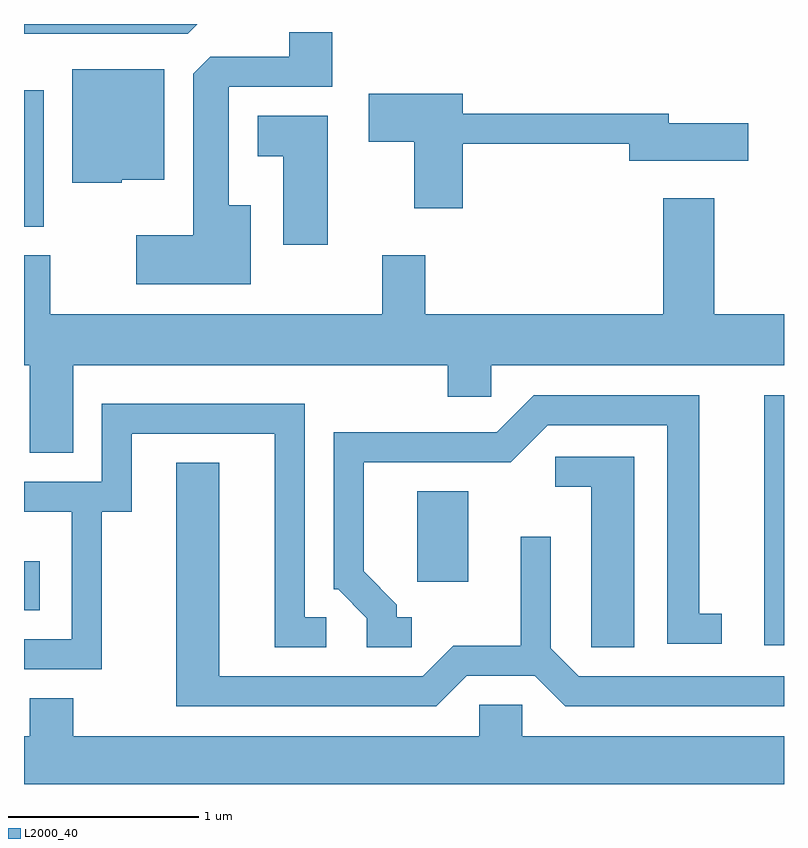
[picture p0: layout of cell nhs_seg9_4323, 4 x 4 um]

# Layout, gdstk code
import gdstk
lib = gdstk.Library(unit=1e-6, precision=1e-09)
def R(c, l, rs):  # rectangles x0, y0, x1, y1
    for r in rs: c.add(gdstk.rectangle(r[:2], r[2:], *l))
def P(c, l, *ps):  # polygons
    for p in ps: c.add(gdstk.Polygon(p, *l))
L2000_40 = (2000, 40)

nhs_seg9_4323 = lib.new_cell('nhs_seg9_4323')
R(nhs_seg9_4323, L2000_40, [(315.506,2059.161,315.611,2060.479), (311.611,2059.346,311.694,2059.604), (313.681,2059.496,313.949,2059.974), (311.611,2061.366,311.714,2062.084)])
P(nhs_seg9_4323, L2000_40, [(312.524,2062.432),(311.611,2062.432),(311.611,2062.381),(312.474,2062.381)],
  [(312.804,2061.479),(312.689,2061.479),(312.689,2062.101),(313.234,2062.101),(313.234,2062.389),(313.006,2062.389),(313.006,2062.259),(312.592,2062.259),(312.501,2062.169),(312.501,2061.319),(312.201,2061.319),(312.201,2061.061),(312.804,2061.061)],
  [(312.125,2061.611),(312.349,2061.611),(312.349,2062.194),(311.866,2062.194),(311.866,2061.596),(312.125,2061.596)],
  [(313.919,2061.801),(314.796,2061.801),(314.796,2061.711),(315.424,2061.711),(315.424,2061.909),(315.004,2061.909),(315.004,2061.959),(313.919,2061.959),(313.919,2062.064),(313.426,2062.064),(313.426,2061.811),(313.666,2061.811),(313.666,2061.461),(313.919,2061.461)],
  [(313.209,2061.949),(312.841,2061.949),(312.841,2061.736),(312.976,2061.736),(312.976,2061.271),(313.209,2061.271)],
  [(311.869,2060.636),(313.841,2060.636),(313.841,2060.471),(314.069,2060.471),(314.069,2060.636),(315.611,2060.636),(315.611,2060.904),(315.244,2060.904),(315.244,2061.514),(314.976,2061.514),(314.976,2060.904),(313.724,2060.904),(313.724,2061.214),(313.496,2061.214),(313.496,2060.904),(311.749,2060.904),(311.749,2061.214),(311.611,2061.214),(311.611,2060.636),(311.641,2060.636),(311.641,2060.176),(311.869,2060.176)],
  [(313.653,2059.309),(313.574,2059.309),(313.574,2059.376),(313.399,2059.552),(313.399,2060.126),(314.172,2060.126),(314.367,2060.321),(314.996,2060.321),(314.996,2059.171),(315.283,2059.171),(315.283,2059.329),(315.164,2059.329),(315.164,2060.479),(314.294,2060.479),(314.099,2060.284),(313.241,2060.284),(313.241,2059.456),(313.264,2059.456),(313.416,2059.304),(313.416,2059.151),(313.653,2059.151)],
  [(312.019,2059.866),(312.179,2059.866),(312.179,2060.276),(312.931,2060.276),(312.931,2059.151),(313.203,2059.151),(313.203,2059.309),(313.089,2059.309),(313.089,2060.434),(312.021,2060.434),(312.021,2060.024),(311.611,2060.024),(311.611,2059.866),(311.861,2059.866),(311.861,2059.194),(311.611,2059.194),(311.611,2059.036),(312.019,2059.036)],
  [(314.824,2060.154),(314.408,2060.154),(314.408,2059.996),(314.596,2059.996),(314.596,2059.151),(314.824,2059.151)],
  [(313.942,2059.001),(314.299,2059.001),(314.459,2058.841),(315.611,2058.841),(315.611,2058.999),(314.532,2058.999),(314.384,2059.146),(314.384,2059.733),(314.226,2059.733),(314.226,2059.159),(313.869,2059.159),(313.709,2058.999),(312.639,2058.999),(312.639,2060.124),(312.411,2060.124),(312.411,2058.841),(313.782,2058.841)],
  [(315.611,2058.684),(314.234,2058.684),(314.234,2058.849),(314.006,2058.849),(314.006,2058.684),(311.869,2058.684),(311.869,2058.884),(311.641,2058.884),(311.641,2058.684),(311.611,2058.684),(311.611,2058.432),(315.611,2058.432)])

lib.write_gds('nhs_seg9_4323.gds')
